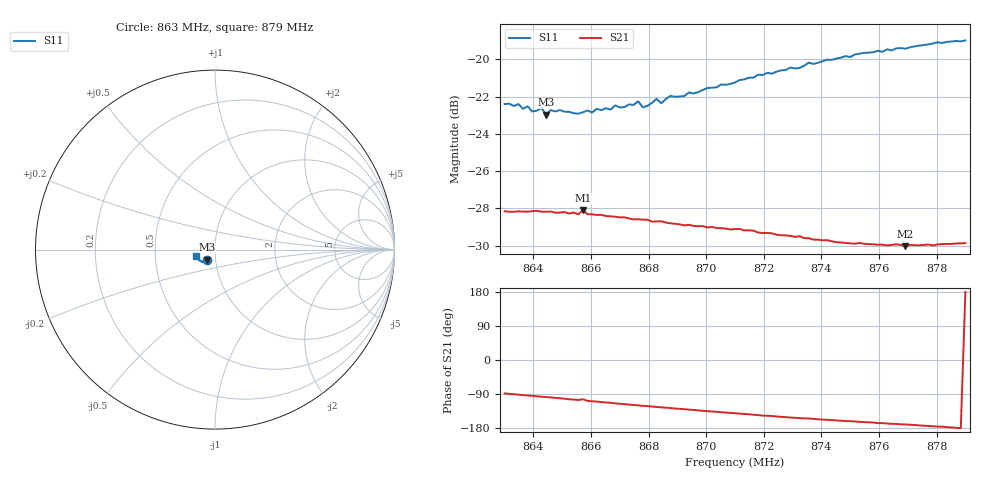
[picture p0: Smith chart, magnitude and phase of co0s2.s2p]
# HZ S RI R 50
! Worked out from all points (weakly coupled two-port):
!   101 points, 863 MHz to 879 MHz, reference 50 ohm
!   highest |S21| = -28.10 dB at 865.72 MHz (marker M1); lowest = -30.0 dB at 876.92 MHz (marker M2)
!   lowest |S11| = -23.0 dB at 864.44 MHz (marker M3), VSWR 1.15, Z = 45.5 - j5.1 ohm
!   |S11| at or under -10 dB: start of sweep to end of sweep
!   S12 and S22 are empty: the file has one direction only
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8.63e8  -0.0461 -0.0602  0.00133 -0.0391  0 0  0 0
8.6364e8  -0.0442 -0.0589  -0.0017 -0.039  0 0  0 0
8.638e8  -0.0445 -0.0602  -0.00242 -0.039  0 0  0 0
8.6396e8  -0.0426 -0.0586  -0.00309 -0.039  0 0  0 0
8.6428e8  -0.0434 -0.0601  -0.0047 -0.0387  0 0  0 0
8.6444e8  -0.044 -0.0557  -0.00527 -0.0387  0 0  0 0
8.646e8  -0.0431 -0.059  -0.00596 -0.0386  0 0  0 0
8.6556e8  -0.0408 -0.0587  -0.0103 -0.037  0 0  0 0
8.6572e8  -0.036 -0.0625  -0.0094 -0.0382  0 0  0 0
8.6588e8  -0.0407 -0.0604  -0.0118 -0.0366  0 0  0 0
8.6668e8  -0.0393 -0.0619  -0.0148 -0.0349  0 0  0 0
8.6764e8  -0.0426 -0.0643  -0.0184 -0.0324  0 0  0 0
8.678e8  -0.0403 -0.0625  -0.0191 -0.0319  0 0  0 0
8.6828e8  -0.0434 -0.0652  -0.0206 -0.0304  0 0  0 0
8.6844e8  -0.0413 -0.0641  -0.021 -0.0302  0 0  0 0
8.6876e8  -0.0441 -0.0665  -0.0218 -0.0291  0 0  0 0
8.6924e8  -0.0454 -0.0656  -0.0231 -0.0275  0 0  0 0
8.71e8  -0.0526 -0.0689  -0.0271 -0.0223  0 0  0 0
8.7372e8  -0.0691 -0.0684  -0.0299 -0.0137  0 0  0 0
8.7644e8  -0.0892 -0.0565  -0.0311 -0.00639  0 0  0 0
8.7692e8  -0.0929 -0.0526  -0.0311 -0.00541  0 0  0 0
8.79e8  -0.106 -0.0373  -0.0321 0.000165  0 0  0 0
